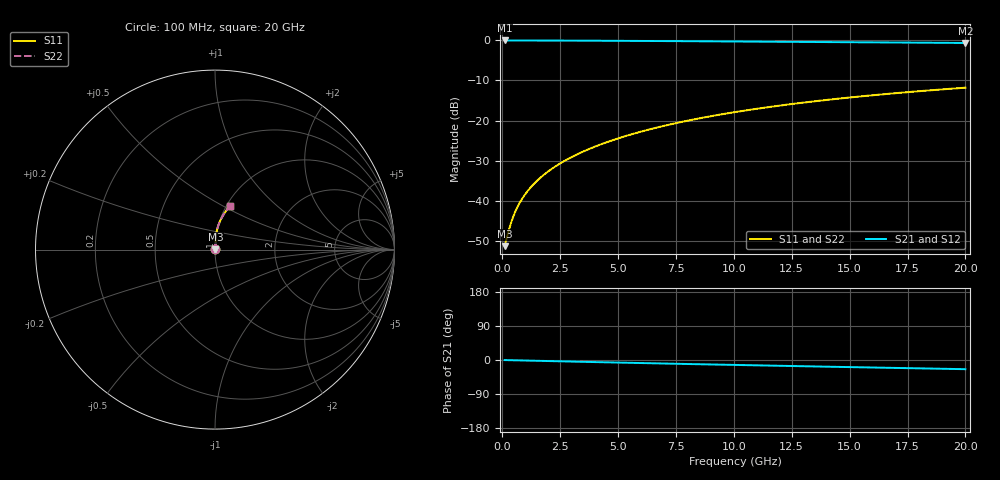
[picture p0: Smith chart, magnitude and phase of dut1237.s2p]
! Touchstone file exported from HFSS 2024.1.0
!  File:  C:/UserFiles/LocalFiles/RDL_TSV_Batchsim/temp_RDL_bottom_1237_1780244830.aedt
!  Generated:  12:29:47 AM Jun  1, 2026
!  Design:  RDL_bottom
!  Project:  temp_RDL_bottom_1237_1780244830
!  Setup:  Setup1
!  Solution:  Sweep
! Variables:
!  dtsv = 10.80580581um
!  hbump = 3um
!  htsv = 50.36um
!  ldown = 315.81um
!  lrdl = 100um
!  p = 40
!  p1 = 47.1um
!  rhole = 1um
!  t = 450um
!  tdown = 2.51um
!  trdl = 3.915915916um
!  wdown = 21.32um
!  wrdl = 20um
# GHz S MA R 50.000000
! Terminal data exported
! Port[1] = RDL1_T1
! Port[2] = RDL1_T2
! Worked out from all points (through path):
!   200 points, 100 MHz to 20 GHz, reference 50 ohm
!   highest |S21| = -0.02 dB at 100 MHz (marker M1); lowest = -0.7 dB at 20 GHz (marker M2)
!   group delay of S21, straight-line fit = 3.34 ps
!   lowest |S11| = -51.4 dB at 100 MHz (marker M3), VSWR 1.01, Z = 50.2 + j0.127 ohm
!   |S11| at or under -10 dB: start of sweep to end of sweep
!   |S22| runs from -51.4 to -11.8 dB; largest |S21 - S12| = 3.5e-15
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0.1  0.002703 27.8  0.9976 -0.1  0.9976 -0.1  0.002703 27.8
! Gamma 0 0 0 0
! Port Impedance 50 0 50 0
0.3  0.004464 56.7  0.9974 -0.4  0.9974 -0.4  0.004459 56.7
0.4  0.005527 63.1  0.9973 -0.6  0.9973 -0.6  0.005522 63.1
0.5  0.00662 67.2  0.9972 -0.7  0.9972 -0.7  0.006614 67.3
0.6  0.007723 70.2  0.9971 -0.9  0.9971 -0.9  0.007717 70.2
0.7  0.008827 72.4  0.9969 -1.0  0.9969 -1.0  0.008822 72.4
0.9  0.01104 75.5  0.9967 -1.3  0.9967 -1.3  0.01103 75.5
1.2  0.01436 78.5  0.9964 -1.7  0.9964 -1.7  0.01435 78.5
1.4  0.01658 80.0  0.9961 -2.0  0.9961 -2.0  0.01658 80.0
1.7  0.01995 81.6  0.9957 -2.4  0.9957 -2.4  0.01995 81.6
2.2  0.02566 83.5  0.9948 -3.1  0.9948 -3.1  0.02566 83.5
2.8  0.03267 84.9  0.9936 -3.9  0.9936 -3.9  0.03267 84.9
3.5  0.04106 85.8  0.9919 -4.8  0.9919 -4.8  0.04106 85.8
4.2  0.04969 86.3  0.9899 -5.8  0.9899 -5.8  0.04969 86.3
5  0.0598 86.5  0.9874 -6.8  0.9874 -6.8  0.0598 86.5
5.9  0.07146 86.3  0.9844 -8.0  0.9844 -8.0  0.07146 86.3
6.8  0.08336 85.9  0.9811 -9.1  0.9811 -9.1  0.08336 85.9
8.4  0.1049 84.6  0.9751 -11.1  0.9751 -11.1  0.1049 84.6
10.1  0.128 82.8  0.9685 -13.1  0.9685 -13.1  0.128 82.8
13.4  0.1726 78.9  0.9554 -16.9  0.9554 -16.9  0.1726 78.9
16.7  0.2157 74.9  0.9419 -20.6  0.9419 -20.6  0.2157 74.9
20  0.2568 70.9  0.9279 -24.2  0.9279 -24.2  0.2568 70.9
